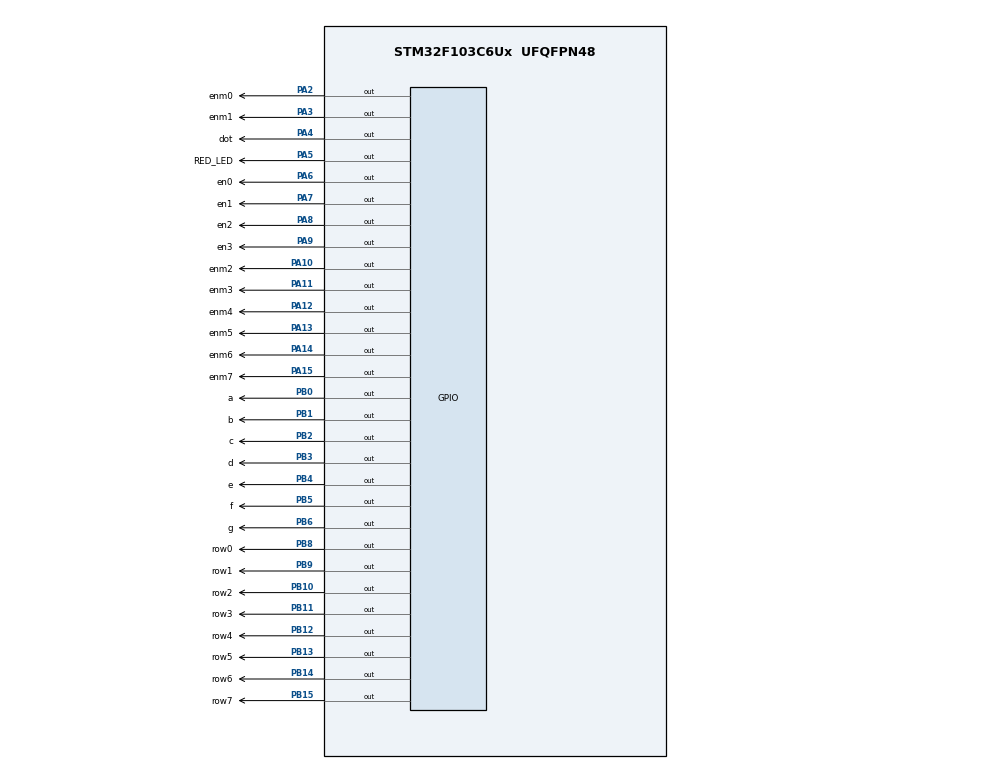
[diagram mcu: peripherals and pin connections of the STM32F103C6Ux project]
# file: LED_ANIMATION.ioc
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Mcu.Family=STM32F1
Mcu.Name=STM32F103C6Ux
Mcu.Package=UFQFPN48
NVIC.PriorityGroup=NVIC_PRIORITYGROUP_4
NVIC.TIM2_IRQn=true\:0\:0\:false\:false\:true\:true\:true
PA10.GPIO_Label=enm2
PA10.Signal=GPIO_Output
PA11.GPIO_Label=enm3
PA11.Signal=GPIO_Output
PA12.GPIO_Label=enm4
PA12.Signal=GPIO_Output
PA13.GPIO_Label=enm5
PA13.Signal=GPIO_Output
PA14.GPIO_Label=enm6
PA14.Signal=GPIO_Output
PA15.GPIO_Label=enm7
PA15.Signal=GPIO_Output
PA2.GPIO_Label=enm0
PA2.Signal=GPIO_Output
PA3.GPIO_Label=enm1
PA3.Signal=GPIO_Output
PA4.GPIO_Label=dot
PA4.Signal=GPIO_Output
PA5.GPIO_Label=RED_LED
PA5.Signal=GPIO_Output
PA6.GPIO_Label=en0
PA6.Signal=GPIO_Output
PA7.GPIO_Label=en1
PA7.Signal=GPIO_Output
PA8.GPIO_Label=en2
PA8.Signal=GPIO_Output
PA9.GPIO_Label=en3
PA9.Signal=GPIO_Output
PB0.GPIO_Label=a
PB0.Signal=GPIO_Output
PB1.GPIO_Label=b
PB1.Signal=GPIO_Output
PB10.GPIO_Label=row2
PB10.Signal=GPIO_Output
PB11.GPIO_Label=row3
PB11.Signal=GPIO_Output
PB12.GPIO_Label=row4
PB12.Signal=GPIO_Output
PB13.GPIO_Label=row5
PB13.Signal=GPIO_Output
PB14.GPIO_Label=row6
PB14.Signal=GPIO_Output
PB15.GPIO_Label=row7
PB15.Signal=GPIO_Output
PB2.GPIO_Label=c
PB2.Signal=GPIO_Output
PB3.GPIO_Label=d
PB3.Signal=GPIO_Output
PB4.GPIO_Label=e
PB4.Signal=GPIO_Output
PB5.GPIO_Label=f
PB5.Signal=GPIO_Output
PB6.GPIO_Label=g
PB6.Signal=GPIO_Output
PB8.GPIO_Label=row0
PB8.Signal=GPIO_Output
PB9.GPIO_Label=row1
PB9.Signal=GPIO_Output
ProjectManager.HeapSize=0x200
ProjectManager.StackSize=0x400
ProjectManager.TargetToolchain=STM32CubeIDE
RCC.APB1Freq_Value=8000000
RCC.APB2Freq_Value=8000000
TIM2.Period=9
TIM2.Prescaler=7999
VP_SYS_VS_ND.Mode=No_Debug
VP_TIM2_VS_ClockSourceINT.Mode=Internal
board=custom

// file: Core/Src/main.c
/* USER CODE BEGIN Header */
/**
  ******************************************************************************
  * @file           : main.c
  * @brief          : Main program body
  ******************************************************************************
  * @attention
  *
  * <h2><center>&copy; Copyright (c) 2023 STMicroelectronics.
  * All rights reserved.</center></h2>
  *
  * This software component is licensed by ST under BSD 3-Clause license,
  * the "License"; You may not use this file except in compliance with the
  * License. You may obtain a copy of the License at:
  *                        opensource.org/licenses/BSD-3-Clause
  *
  ******************************************************************************
  */
/* USER CODE END Header */
#include "main.h"
#include "led.h"

/* USER CODE BEGIN Includes */
#include "software_timer.h"
/* USER CODE END Includes */

/* USER CODE BEGIN PM */
int LED = 0;
int SEG = 1;
int MATRIX = 2;
/* USER CODE END PM */

TIM_HandleTypeDef htim2;

void SystemClock_Config(void);
static void MX_GPIO_Init(void);
static void MX_TIM2_Init(void);

/* USER CODE BEGIN 0 */
void display7SEG(int num){
	const int segments[10] = {
	        0b0111111, // 0
	        0b0000110, // 1
	        0b1011011, // 2
	        0b1001111, // 3
	        0b1100110, // 4
	        0b1101101, // 5
	        0b1111101, // 6
	        0b0000111, // 7
	        0b1111111, // 8
	        0b1101111  // 9
	    };

	    uint8_t displaySegments = segments[num];

	    HAL_GPIO_WritePin(a_GPIO_Port, a_Pin, (displaySegments & 1) ? GPIO_PIN_RESET : GPIO_PIN_SET);
	    HAL_GPIO_WritePin(b_GPIO_Port, b_Pin, ((displaySegments >> 1) & 1) ? GPIO_PIN_RESET : GPIO_PIN_SET);
	    HAL_GPIO_WritePin(c_GPIO_Port, c_Pin, ((displaySegments >> 2) & 1) ? GPIO_PIN_RESET : GPIO_PIN_SET);
	    HAL_GPIO_WritePin(d_GPIO_Port, d_Pin, ((displaySegments >> 3) & 1) ? GPIO_PIN_RESET : GPIO_PIN_SET);
	    HAL_GPIO_WritePin(e_GPIO_Port, e_Pin, ((displaySegments >> 4) & 1) ? GPIO_PIN_RESET : GPIO_PIN_SET);
	    HAL_GPIO_WritePin(f_GPIO_Port, f_Pin, ((displaySegments >> 5) & 1) ? GPIO_PIN_RESET : GPIO_PIN_SET);
	    HAL_GPIO_WritePin(g_GPIO_Port, g_Pin, ((displaySegments >> 6) & 1) ? GPIO_PIN_RESET : GPIO_PIN_SET);
  }

const int MAX_LED_MATRIX = 8;
int index_led_matrix = 0;
uint8_t matrix_buffer[8] = //{0x01, 0x02, 0x03, 0x04, 0x05, 0x06, 0x07, 0x08};
		{0xE7, 0xDB, 0xBD, 0xBD, 0x81, 0xBD, 0xBD, 0xBD};//A

const int MAX_LED = 4;
int index_led = 0;
int led_buffer[4] = {0, 0, 0, 0};
int hour = 15, min = 8, sec = 50;

void updateClockBuffer(){
	led_buffer[0] = hour / 10;
	led_buffer[2] = min / 10;
	led_buffer[1] = hour % 10;
	led_buffer[3] = min % 10;
//	++clock_buffer[2];
//	if(clock_buffer[2] == 60){
//	  ++clock_buffer[1];
//	  clock_buffer[2] = 0;
//	}
//	if(clock_buffer[1] == 60){
//	  ++clock_buffer[0];
//	  clock_buffer[1] = 0;
//	}
//	if(clock_buffer[0] == 24){
//	  clock_buffer[0] = 0;
//	}
}

void update7SEG(int id){
	switch(id){
		case 0: {
		  HAL_GPIO_WritePin(en0_GPIO_Port, en0_Pin, GPIO_PIN_RESET);
		  HAL_GPIO_WritePin(en3_GPIO_Port, en3_Pin, GPIO_PIN_SET);
		  HAL_GPIO_WritePin(RED_LED_GPIO_Port, RED_LED_Pin, GPIO_PIN_SET);
		  display7SEG(led_buffer[id]);
		  break;
		}
		case 1: {
			HAL_GPIO_WritePin(en1_GPIO_Port, en1_Pin, GPIO_PIN_RESET);
			HAL_GPIO_WritePin(en0_GPIO_Port, en0_Pin, GPIO_PIN_SET);
		  HAL_GPIO_WritePin(RED_LED_GPIO_Port, RED_LED_Pin, GPIO_PIN_RESET);
		  display7SEG(led_buffer[id]);
		  break;
		}
		case 2: {
			HAL_GPIO_WritePin(en2_GPIO_Port, en2_Pin, GPIO_PIN_RESET);
			HAL_GPIO_WritePin(en1_GPIO_Port, en1_Pin, GPIO_PIN_SET);
		  HAL_GPIO_WritePin(RED_LED_GPIO_Port, RED_LED_Pin, GPIO_PIN_SET);
		  display7SEG(led_buffer[id]);
		  break;
		}
		case 3: {
			HAL_GPIO_WritePin(en3_GPIO_Port, en3_Pin, GPIO_PIN_RESET);
			HAL_GPIO_WritePin(en2_GPIO_Port, en2_Pin, GPIO_PIN_SET);
			HAL_GPIO_WritePin(RED_LED_GPIO_Port, RED_LED_Pin, GPIO_PIN_RESET);
		  display7SEG(led_buffer[id]);
		  break;
		}
		default:{
		  HAL_GPIO_WritePin(dot_GPIO_Port, dot_Pin, GPIO_PIN_SET);
		  HAL_GPIO_WritePin(en0_GPIO_Port, en0_Pin, GPIO_PIN_SET);
		  HAL_GPIO_WritePin(en1_GPIO_Port, en1_Pin, GPIO_PIN_SET);
		  HAL_GPIO_WritePin(en0_GPIO_Port, en2_Pin, GPIO_PIN_SET);
		  HAL_GPIO_WritePin(en1_GPIO_Port, en3_Pin, GPIO_PIN_SET);
		  break;
		}
	}
}

/* USER CODE END 0 */

int main(void)
{

  /* MCU Configuration--------------------------------------------------------*/

  /* Reset of all peripherals, Initializes the Flash interface and the Systick. */
  HAL_Init();

  /* Configure the system clock */
  SystemClock_Config();

  /* Initialize all configured peripherals */
  MX_GPIO_Init();
  MX_TIM2_Init();
  /* USER CODE BEGIN 2 */
  HAL_TIM_Base_Start_IT(&htim2);
  /* USER CODE END 2 */

  /* Infinite loop */
  /* USER CODE BEGIN WHILE */

//  setTimer(50, id);
  HAL_GPIO_WritePin(dot_GPIO_Port, dot_Pin, GPIO_PIN_RESET);
  HAL_GPIO_WritePin(en0_GPIO_Port, en0_Pin, GPIO_PIN_SET);
  HAL_GPIO_WritePin(en1_GPIO_Port, en1_Pin, GPIO_PIN_SET);
  HAL_GPIO_WritePin(en2_GPIO_Port, en2_Pin, GPIO_PIN_SET);
  HAL_GPIO_WritePin(en3_GPIO_Port, en3_Pin, GPIO_PIN_SET);
  setTimer(100, SEG);
  setTimer(100, LED);
  setTimer(1, MATRIX);

  int seg = 0;
  int id = 0;
  int led = 1;

  while (1){
	  if(timer_flag[LED] == 1){
		  switch(led){
		  	  case 1:{
		  		  HAL_GPIO_WritePin(dot_GPIO_Port, dot_Pin, GPIO_PIN_SET);
		  		  led = 0;
		  		  break;
		  	  }
		  	  default:{
		  		  HAL_GPIO_WritePin(dot_GPIO_Port, dot_Pin, GPIO_PIN_RESET);
		  		  led = 1;
		  	  }
		  }

		  shiftLeft(matrix_buffer);
		  setTimer(100, LED);
	  }

	  if(timer_flag[MATRIX] == 1){

		  updateLEDMatrix(matrix_buffer, id++);
			if (id> 7) {
				id= 0;
			}

		  setTimer(1, MATRIX);
	  }
	  if(timer_flag[SEG] == 1){

		  updateClockBuffer();
		  seg = seg % MAX_LED;
		  update7SEG(seg++);
		  ++sec;

//		  switch(seg){
//			  case 1: {
//				  HAL_GPIO_WritePin(en0_GPIO_Port, en0_Pin, (seg == 1) ? GPIO_PIN_RESET : GPIO_PIN_SET);
//				  HAL_GPIO_WritePin(en1_GPIO_Port, en1_Pin, (seg == 1) ? GPIO_PIN_SET : GPIO_PIN_RESET);
//				  HAL_GPIO_WritePin(en2_GPIO_Port, en2_Pin, (seg == 1) ? GPIO_PIN_SET : GPIO_PIN_RESET);
//				  HAL_GPIO_WritePin(en3_GPIO_Port, en3_Pin, (seg == 1) ? GPIO_PIN_SET : GPIO_PIN_RESET);
//				  HAL_GPIO_WritePin(RED_LED_GPIO_Port, RED_LED_Pin, GPIO_PIN_SET);
//				  display7SEG(seg);
//				  seg = 2;
//				  break;
//			  }
//			  case 2: {
//				  HAL_GPIO_WritePin(en0_GPIO_Port, en0_Pin, (seg == 2) ? GPIO_PIN_SET : GPIO_PIN_RESET);
//				  HAL_GPIO_WritePin(en1_GPIO_Port, en1_Pin, (seg == 2) ? GPIO_PIN_RESET : GPIO_PIN_SET);
//				  HAL_GPIO_WritePin(en2_GPIO_Port, en2_Pin, (seg == 2) ? GPIO_PIN_SET : GPIO_PIN_RESET);
//				  HAL_GPIO_WritePin(en3_GPIO_Port, en3_Pin, (seg == 2) ? GPIO_PIN_SET : GPIO_PIN_RESET);
//				  HAL_GPIO_WritePin(RED_LED_GPIO_Port, RED_LED_Pin, GPIO_PIN_RESET);
//				  display7SEG(seg);
//				  seg = 3;
//				  break;
//			  }
//			  case 3: {
//				  HAL_GPIO_WritePin(en0_GPIO_Port, en0_Pin, (seg == 3) ? GPIO_PIN_SET : GPIO_PIN_RESET);
//				  HAL_GPIO_WritePin(en1_GPIO_Port, en1_Pin, (seg == 3) ? GPIO_PIN_SET : GPIO_PIN_RESET);
//				  HAL_GPIO_WritePin(en2_GPIO_Port, en2_Pin, (seg == 3) ? GPIO_PIN_RESET : GPIO_PIN_SET);
//				  HAL_GPIO_WritePin(en3_GPIO_Port, en3_Pin, (seg == 3) ? GPIO_PIN_SET : GPIO_PIN_RESET);
//				  HAL_GPIO_WritePin(RED_LED_GPIO_Port, RED_LED_Pin, GPIO_PIN_SET);
//				  display7SEG(seg);
//				  seg = 4;
//				  break;
//			  }
//			  case 4: {
//				  HAL_GPIO_WritePin(en0_GPIO_Port, en0_Pin, (seg == 4) ? GPIO_PIN_SET : GPIO_PIN_RESET);
//				  HAL_GPIO_WritePin(en1_GPIO_Port, en1_Pin, (seg == 4) ? GPIO_PIN_SET : GPIO_PIN_RESET);
//				  HAL_GPIO_WritePin(en2_GPIO_Port, en2_Pin, (seg == 4) ? GPIO_PIN_SET : GPIO_PIN_RESET);
//				  HAL_GPIO_WritePin(en3_GPIO_Port, en3_Pin, (seg == 4) ? GPIO_PIN_RESET : GPIO_PIN_SET);
//				  HAL_GPIO_WritePin(RED_LED_GPIO_Port, RED_LED_Pin, GPIO_PIN_RESET);
//				  display7SEG(seg - 4);
//				  seg = 1;
//				  break;
//			  }
//			  default:{
//				  HAL_GPIO_WritePin(dot_GPIO_Port, dot_Pin, GPIO_PIN_SET);
//				  HAL_GPIO_WritePin(en0_GPIO_Port, en0_Pin, GPIO_PIN_SET);
//				  HAL_GPIO_WritePin(en1_GPIO_Port, en1_Pin, GPIO_PIN_SET);
//				  HAL_GPIO_WritePin(en0_GPIO_Port, en2_Pin, GPIO_PIN_SET);
//				  HAL_GPIO_WritePin(en1_GPIO_Port, en3_Pin, GPIO_PIN_SET);
//				  seg = 1;
//				  break;
//			  }
//		  }

		  //setTimer(50, id);
		  setTimer(100, SEG);
	  }

    /* USER CODE END WHILE */

  }
}

void SystemClock_Config(void)
{
  RCC_OscInitTypeDef RCC_OscInitStruct = {0};
  RCC_ClkInitTypeDef RCC_ClkInitStruct = {0};

  /** Initializes the RCC Oscillators according to the specified parameters
  * in the RCC_OscInitTypeDef structure.
  */
  RCC_OscInitStruct.OscillatorType = RCC_OSCILLATORTYPE_HSI;
  RCC_OscInitStruct.HSIState = RCC_HSI_ON;
  RCC_OscInitStruct.HSICalibrationValue = RCC_HSICALIBRATION_DEFAULT;
  RCC_OscInitStruct.PLL.PLLState = RCC_PLL_NONE;
  if (HAL_RCC_OscConfig(&RCC_OscInitStruct) != HAL_OK)
  {
    Error_Handler();
  }
  /** Initializes the CPU, AHB and APB buses clocks
  */
  RCC_ClkInitStruct.ClockType = RCC_CLOCKTYPE_HCLK|RCC_CLOCKTYPE_SYSCLK
                              |RCC_CLOCKTYPE_PCLK1|RCC_CLOCKTYPE_PCLK2;
  RCC_ClkInitStruct.SYSCLKSource = RCC_SYSCLKSOURCE_HSI;
  RCC_ClkInitStruct.AHBCLKDivider = RCC_SYSCLK_DIV1;
  RCC_ClkInitStruct.APB1CLKDivider = RCC_HCLK_DIV1;
  RCC_ClkInitStruct.APB2CLKDivider = RCC_HCLK_DIV1;

  if (HAL_RCC_ClockConfig(&RCC_ClkInitStruct, FLASH_LATENCY_0) != HAL_OK)
  {
    Error_Handler();
  }
}

static void MX_TIM2_Init(void)
{

  TIM_ClockConfigTypeDef sClockSourceConfig = {0};
  TIM_MasterConfigTypeDef sMasterConfig = {0};

  htim2.Instance = TIM2;
  htim2.Init.Prescaler = 7999;
  htim2.Init.CounterMode = TIM_COUNTERMODE_UP;
  htim2.Init.Period = 9;
  htim2.Init.ClockDivision = TIM_CLOCKDIVISION_DIV1;
  htim2.Init.AutoReloadPreload = TIM_AUTORELOAD_PRELOAD_DISABLE;
  if (HAL_TIM_Base_Init(&htim2) != HAL_OK)
  {
    Error_Handler();
  }
  sClockSourceConfig.ClockSource = TIM_CLOCKSOURCE_INTERNAL;
  if (HAL_TIM_ConfigClockSource(&htim2, &sClockSourceConfig) != HAL_OK)
  {
    Error_Handler();
  }
  sMasterConfig.MasterOutputTrigger = TIM_TRGO_RESET;
  sMasterConfig.MasterSlaveMode = TIM_MASTERSLAVEMODE_DISABLE;
  if (HAL_TIMEx_MasterConfigSynchronization(&htim2, &sMasterConfig) != HAL_OK)
  {
    Error_Handler();
  }

}

static void MX_GPIO_Init(void)
{
  GPIO_InitTypeDef GPIO_InitStruct = {0};

  /* GPIO Ports Clock Enable */
  __HAL_RCC_GPIOA_CLK_ENABLE();
  __HAL_RCC_GPIOB_CLK_ENABLE();

  /*Configure GPIO pin Output Level */
  HAL_GPIO_WritePin(GPIOA, enm0_Pin|enm1_Pin|dot_Pin|RED_LED_Pin
                          |en0_Pin|en1_Pin|en2_Pin|en3_Pin
                          |enm2_Pin|enm3_Pin|enm4_Pin|enm5_Pin
                          |enm6_Pin|enm7_Pin, GPIO_PIN_RESET);

  /*Configure GPIO pin Output Level */
  HAL_GPIO_WritePin(GPIOB, a_Pin|b_Pin|c_Pin|row2_Pin
                          |row3_Pin|row4_Pin|row5_Pin|row6_Pin
                          |row7_Pin|d_Pin|e_Pin|f_Pin
                          |g_Pin|row0_Pin|row1_Pin, GPIO_PIN_RESET);

  /*Configure GPIO pins : enm0_Pin enm1_Pin dot_Pin RED_LED_Pin
                           en0_Pin en1_Pin en2_Pin en3_Pin
                           enm2_Pin enm3_Pin enm4_Pin enm5_Pin
                           enm6_Pin enm7_Pin */
  GPIO_InitStruct.Pin = enm0_Pin|enm1_Pin|dot_Pin|RED_LED_Pin
                          |en0_Pin|en1_Pin|en2_Pin|en3_Pin
                          |enm2_Pin|enm3_Pin|enm4_Pin|enm5_Pin
                          |enm6_Pin|enm7_Pin;
  GPIO_InitStruct.Mode = GPIO_MODE_OUTPUT_PP;
  GPIO_InitStruct.Pull = GPIO_NOPULL;
  GPIO_InitStruct.Speed = GPIO_SPEED_FREQ_LOW;
  HAL_GPIO_Init(GPIOA, &GPIO_InitStruct);

  /*Configure GPIO pins : a_Pin b_Pin c_Pin row2_Pin
                           row3_Pin row4_Pin row5_Pin row6_Pin
                           row7_Pin d_Pin e_Pin f_Pin
                           g_Pin row0_Pin row1_Pin */
  GPIO_InitStruct.Pin = a_Pin|b_Pin|c_Pin|row2_Pin
                          |row3_Pin|row4_Pin|row5_Pin|row6_Pin
                          |row7_Pin|d_Pin|e_Pin|f_Pin
                          |g_Pin|row0_Pin|row1_Pin;
  GPIO_InitStruct.Mode = GPIO_MODE_OUTPUT_PP;
  GPIO_InitStruct.Pull = GPIO_NOPULL;
  GPIO_InitStruct.Speed = GPIO_SPEED_FREQ_LOW;
  HAL_GPIO_Init(GPIOB, &GPIO_InitStruct);

}

/* USER CODE BEGIN 4 */
//  int counter = 100;
//  void HAL_TIM_PeriodElapsedCallback(TIM_HandleTypeDef *htim){
//	  --counter;
//	  if(counter <= 0){
//		  counter = 100;
//		  HAL_GPIO_TogglePin(RED_LED_GPIO_Port, RED_LED_Pin);
//	  }
//  }

  void HAL_TIM_PeriodElapsedCallback(TIM_HandleTypeDef *htim){
	  timerRun(LED);
	  timerRun(SEG);
	  timerRun(MATRIX);
  }
/* USER CODE END 4 */

void Error_Handler(void)
{
  __disable_irq();
  while (1)
  {
  }
}

/************************ (C) COPYRIGHT STMicroelectronics *****END OF FILE****/
